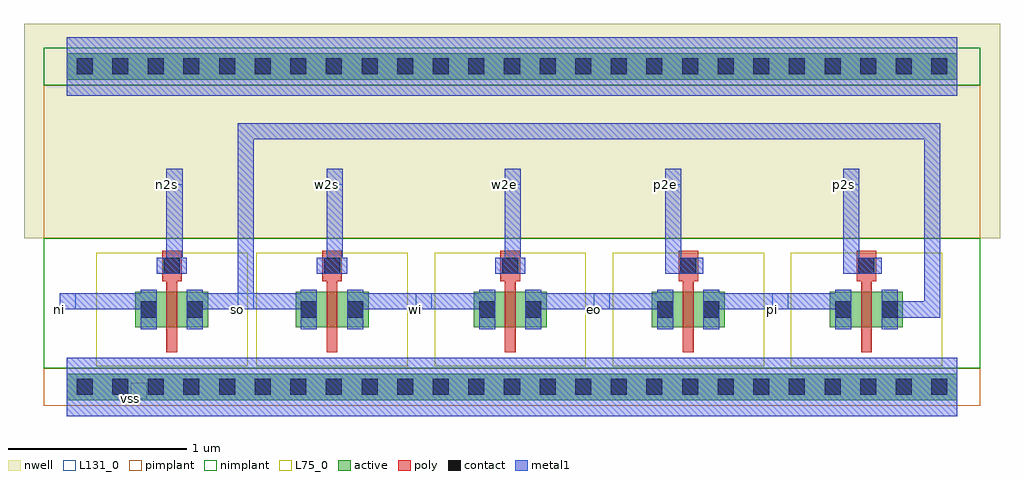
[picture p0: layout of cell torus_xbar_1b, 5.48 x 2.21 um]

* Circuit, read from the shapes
.subckt torus_xbar_1b eo n2s ni p2e p2s pi so vss w2e w2s wi
M1 so n2s ni vss nfet w=0.2u l=0.06u
M2 wi w2s so vss nfet w=0.2u l=0.06u
M3 eo w2e wi vss nfet w=0.2u l=0.06u
M4 pi p2e eo vss nfet w=0.2u l=0.06u
M5 so p2s pi vss nfet w=0.2u l=0.06u
.ends

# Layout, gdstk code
import gdstk
lib = gdstk.Library(unit=1e-6, precision=1e-09)
def R(c, l, rs):  # rectangles x0, y0, x1, y1
    for r in rs: c.add(gdstk.rectangle(r[:2], r[2:], *l))
def A(c, l, x, y, w, h, nx, ny, dx, dy):  # array of equal rectangles
    R(c, l, [(x+i*dx, y+j*dy, x+i*dx+w, y+j*dy+h) for i in range(nx) for j in range(ny)])
nwell = (3, 0)
active = (6, 0)
poly = (17, 0)
pimplant = (25, 0)
nimplant = (26, 0)
contact = (30, 0)
metal1 = (31, 0)
L75_0 = (75, 0)
L131_0 = (131, 0)

nch_cdns_733455389410 = lib.new_cell('nch_CDNS_733455389410')
R(nch_cdns_733455389410, active, [(-0.175,0,0,0.2), (0,0,0.06,0.2), (0.06,0,0.235,0.2)])
R(nch_cdns_733455389410, poly, [(0,-0.14,0.06,0), (0,0,0.06,0.2), (0,0.2,0.06,0.34)])
R(nch_cdns_733455389410, contact, [(-0.145,0.055,-0.055,0.145), (0.115,0.055,0.205,0.145)])
R(nch_cdns_733455389410, metal1, [(-0.145,-0.01,-0.055,0.21), (0.115,-0.01,0.205,0.21)])
R(nch_cdns_733455389410, L75_0, [(-0.395,-0.22,0.455,0.42)])
nch_cdns_733455389410.add(gdstk.Label('& SerialNumber 000000', (0,0), layer=63, texttype=63))
nch_cdns_733455389410.add(gdstk.Label('& Distributor TSMC', (0,0), layer=63, texttype=63))
nch_cdns_733455389410.add(gdstk.Label('& Metric 1', (0,0), layer=63, texttype=63))
nch_cdns_733455389410.add(gdstk.Label('& PDK TechNode "CRN65LP"', (0,0), layer=63, texttype=63))
nch_cdns_733455389410.add(gdstk.Label('& Product    tsmcN65_PDK', (0,0), layer=63, texttype=63))
nch_cdns_733455389410.add(gdstk.Label('& Vendor     Taiwan Semiconductor manufacturing Corp.', (0,0), layer=63, texttype=63))
nch_cdns_733455389410.add(gdstk.Label('[@instanceName]', (0.03,0.1), layer=127, texttype=0))
nch_cdns_733455389410.add(gdstk.Label('nch\n0.2/0.06\n', (0,0), layer=127, texttype=0))
nch_cdns_733455389410.add(gdstk.Label('S', (0.16,0.1), layer=127, texttype=0))
nch_cdns_733455389410.add(gdstk.Label('D', (-0.1,0.1), layer=127, texttype=0))

nch_cdns_733455389411 = lib.new_cell('nch_CDNS_733455389411')
R(nch_cdns_733455389411, active, [(-0.175,0,0,0.2), (0,0,0.06,0.2), (0.06,0,0.235,0.2)])
R(nch_cdns_733455389411, poly, [(0,-0.14,0.06,0), (0,0,0.06,0.2), (0,0.2,0.06,0.34)])
R(nch_cdns_733455389411, contact, [(-0.145,0.055,-0.055,0.145), (0.115,0.055,0.205,0.145)])
R(nch_cdns_733455389411, metal1, [(-0.145,-0.01,-0.055,0.21), (0.115,-0.01,0.205,0.21)])
R(nch_cdns_733455389411, L75_0, [(-0.395,-0.22,0.455,0.42)])
nch_cdns_733455389411.add(gdstk.Label('& SerialNumber 000000', (0,0), layer=63, texttype=63))
nch_cdns_733455389411.add(gdstk.Label('& Distributor TSMC', (0,0), layer=63, texttype=63))
nch_cdns_733455389411.add(gdstk.Label('& Metric 1', (0,0), layer=63, texttype=63))
nch_cdns_733455389411.add(gdstk.Label('& PDK TechNode "CRN65LP"', (0,0), layer=63, texttype=63))
nch_cdns_733455389411.add(gdstk.Label('& Product    tsmcN65_PDK', (0,0), layer=63, texttype=63))
nch_cdns_733455389411.add(gdstk.Label('& Vendor     Taiwan Semiconductor manufacturing Corp.', (0,0), layer=63, texttype=63))
nch_cdns_733455389411.add(gdstk.Label('[@instanceName]', (0.03,0.1), layer=127, texttype=0))
nch_cdns_733455389411.add(gdstk.Label('nch\n0.2/0.06\n', (0,0), layer=127, texttype=0))
nch_cdns_733455389411.add(gdstk.Label('D', (0.16,0.1), layer=127, texttype=0))
nch_cdns_733455389411.add(gdstk.Label('S', (-0.1,0.1), layer=127, texttype=0))

m1_po_cdns_733455389410 = lib.new_cell('M1_PO_CDNS_733455389410')
R(m1_po_cdns_733455389410, poly, [(-0.055,-0.085,0.055,0.085)])
R(m1_po_cdns_733455389410, contact, [(-0.045,-0.045,0.045,0.045)])
R(m1_po_cdns_733455389410, metal1, [(-0.085,-0.045,0.085,0.045)])

torus_xbar_1b = lib.new_cell('torus_xbar_1b')
R(torus_xbar_1b, nwell, [(0.5,1.4,5.98,2.605)])
R(torus_xbar_1b, active, [(0.74,0.49,5.74,0.64), (0.74,2.29,5.74,2.44)])
R(torus_xbar_1b, pimplant, [(0.61,0.46,5.87,0.67), (0.61,1.4,5.87,2.26)])
R(torus_xbar_1b, nimplant, [(0.61,0.67,5.87,1.4), (0.61,2.26,5.87,2.47)])
A(torus_xbar_1b, contact, 0.795, 0.52, 0.09, 0.09, 14, 2, 0.2, 1.8)
A(torus_xbar_1b, contact, 3.795, 0.52, 0.09, 0.09, 10, 2, 0.2, 1.8)
R(torus_xbar_1b, contact, [(3.395,0.52,3.485,0.61), (3.595,0.52,3.685,0.61), (3.595,0.52,3.685,0.61), (3.795,0.52,3.885,0.61), (3.395,2.32,3.485,2.41), (3.595,2.32,3.685,2.41), (3.595,2.32,3.685,2.41), (3.795,2.32,3.885,2.41)])
R(torus_xbar_1b, metal1, [(0.74,0.4,5.74,0.73), (0.74,2.2,5.74,2.53)])
A(torus_xbar_1b, L131_0, 0.7, 1, 0.09, 0.09, 5, 1, 1, 0)
R(torus_xbar_1b, L131_0, [(1.1,0.5,1.19,0.59), (1.3,1.7,1.39,1.79), (2.2,1.7,2.29,1.79), (3.2,1.7,3.29,1.79), (4.1,1.7,4.19,1.79), (5.1,1.7,5.19,1.79)])
torus_xbar_1b.add(gdstk.FlexPath([(3.23,1.1),(3.23,1.245)], 0.06, ends=(0, 0.085), simple_path=True, layer=17, datatype=0))  # poly
torus_xbar_1b.add(gdstk.FlexPath([(4.23,1.1),(4.23,1.245)], 0.06, ends=(0, 0.085), simple_path=True, layer=17, datatype=0))  # poly
torus_xbar_1b.add(gdstk.FlexPath([(5.23,1.1),(5.23,1.245)], 0.06, ends=(0, 0.085), simple_path=True, layer=17, datatype=0))  # poly
torus_xbar_1b.add(gdstk.FlexPath([(2.23,1.1),(2.23,1.245)], 0.06, ends=(0, 0.085), simple_path=True, layer=17, datatype=0))  # poly
torus_xbar_1b.add(gdstk.FlexPath([(1.33,1.1),(1.33,1.245)], 0.06, ends=(0, 0.085), simple_path=True, layer=17, datatype=0))  # poly
torus_xbar_1b.add(gdstk.FlexPath([(2.36,1.045),(2.745,1.045)], 0.09, ends="extended", simple_path=True, layer=31, datatype=0))  # metal1
torus_xbar_1b.add(gdstk.FlexPath([(3.245,1.745),(3.245,1.245)], 0.09, ends="extended", simple_path=True, layer=31, datatype=0))  # metal1
torus_xbar_1b.add(gdstk.FlexPath([(3.745,1.045),(3.36,1.045)], 0.09, ends="extended", simple_path=True, layer=31, datatype=0))  # metal1
torus_xbar_1b.add(gdstk.FlexPath([(3.245,1.245),(3.23,1.245)], 0.09, ends="extended", simple_path=True, layer=31, datatype=0))  # metal1
torus_xbar_1b.add(gdstk.FlexPath([(4.1,1.045),(3.745,1.045)], 0.09, ends="extended", simple_path=True, layer=31, datatype=0))  # metal1
torus_xbar_1b.add(gdstk.FlexPath([(4.745,1.045),(4.36,1.045)], 0.09, ends="extended", simple_path=True, layer=31, datatype=0))  # metal1
torus_xbar_1b.add(gdstk.FlexPath([(5.1,1.045),(4.745,1.045)], 0.09, ends="extended", simple_path=True, layer=31, datatype=0))  # metal1
torus_xbar_1b.add(gdstk.FlexPath([(4.145,1.745),(4.145,1.245)], 0.09, ends="extended", simple_path=True, layer=31, datatype=0))  # metal1
torus_xbar_1b.add(gdstk.FlexPath([(4.145,1.245),(4.23,1.245)], 0.09, ends="extended", simple_path=True, layer=31, datatype=0))  # metal1
torus_xbar_1b.add(gdstk.FlexPath([(5.145,1.745),(5.145,1.245)], 0.09, ends="extended", simple_path=True, layer=31, datatype=0))  # metal1
torus_xbar_1b.add(gdstk.FlexPath([(1.345,1.245),(1.33,1.245)], 0.09, ends="extended", simple_path=True, layer=31, datatype=0))  # metal1
torus_xbar_1b.add(gdstk.FlexPath([(1.745,1.09),(1.745,2)], 0.09, ends=(0, 0.045), simple_path=True, layer=31, datatype=0))  # metal1
torus_xbar_1b.add(gdstk.FlexPath([(1.745,2),(5.6,2)], 0.09, ends="extended", simple_path=True, layer=31, datatype=0))  # metal1
torus_xbar_1b.add(gdstk.FlexPath([(5.6,2),(5.6,1)], 0.09, ends="extended", simple_path=True, layer=31, datatype=0))  # metal1
torus_xbar_1b.add(gdstk.FlexPath([(5.145,1.245),(5.23,1.245)], 0.09, ends="extended", simple_path=True, layer=31, datatype=0))  # metal1
torus_xbar_1b.add(gdstk.FlexPath([(5.6,1),(5.405,1)], 0.09, ends=(0.045, 0), simple_path=True, layer=31, datatype=0))  # metal1
torus_xbar_1b.add(gdstk.FlexPath([(1.745,1.045),(2.1,1.045)], 0.09, ends="extended", simple_path=True, layer=31, datatype=0))  # metal1
torus_xbar_1b.add(gdstk.FlexPath([(1.46,1.045),(1.745,1.045)], 0.09, ends="extended", simple_path=True, layer=31, datatype=0))  # metal1
torus_xbar_1b.add(gdstk.FlexPath([(2.245,1.745),(2.245,1.245)], 0.09, ends="extended", simple_path=True, layer=31, datatype=0))  # metal1
torus_xbar_1b.add(gdstk.FlexPath([(2.245,1.245),(2.23,1.245)], 0.09, ends="extended", simple_path=True, layer=31, datatype=0))  # metal1
torus_xbar_1b.add(gdstk.FlexPath([(0.745,1.045),(1.2,1.045)], 0.09, ends="extended", simple_path=True, layer=31, datatype=0))  # metal1
torus_xbar_1b.add(gdstk.FlexPath([(1.345,1.745),(1.345,1.245)], 0.09, ends="extended", simple_path=True, layer=31, datatype=0))  # metal1
torus_xbar_1b.add(gdstk.FlexPath([(2.745,1.045),(3.1,1.045)], 0.09, ends="extended", simple_path=True, layer=31, datatype=0))  # metal1
torus_xbar_1b.add(gdstk.Reference(nch_cdns_733455389410, (1.3,0.9)))
torus_xbar_1b.add(gdstk.Reference(nch_cdns_733455389410, (5.2,0.9)))
torus_xbar_1b.add(gdstk.Reference(nch_cdns_733455389410, (3.2,0.9)))
torus_xbar_1b.add(gdstk.Reference(nch_cdns_733455389411, (2.2,0.9)))
torus_xbar_1b.add(gdstk.Reference(nch_cdns_733455389411, (4.2,0.9)))
torus_xbar_1b.add(gdstk.Reference(m1_po_cdns_733455389410, (3.23,1.245)))
torus_xbar_1b.add(gdstk.Reference(m1_po_cdns_733455389410, (4.23,1.245)))
torus_xbar_1b.add(gdstk.Reference(m1_po_cdns_733455389410, (5.23,1.245)))
torus_xbar_1b.add(gdstk.Reference(m1_po_cdns_733455389410, (2.23,1.245)))
torus_xbar_1b.add(gdstk.Reference(m1_po_cdns_733455389410, (1.33,1.245)))
torus_xbar_1b.add(gdstk.Label('vss', (1.1,0.5), layer=131, texttype=0))
torus_xbar_1b.add(gdstk.Label('so', (1.7,1), layer=131, texttype=0))
torus_xbar_1b.add(gdstk.Label('eo', (3.7,1), layer=131, texttype=0))
torus_xbar_1b.add(gdstk.Label('pi', (4.7,1), layer=131, texttype=0))
torus_xbar_1b.add(gdstk.Label('wi', (2.7,1), layer=131, texttype=0))
torus_xbar_1b.add(gdstk.Label('ni', (0.7,1), layer=131, texttype=0))
torus_xbar_1b.add(gdstk.Label('n2s', (1.3,1.7), layer=131, texttype=0))
torus_xbar_1b.add(gdstk.Label('w2s', (2.2,1.7), layer=131, texttype=0))
torus_xbar_1b.add(gdstk.Label('p2s', (5.1,1.7), layer=131, texttype=0))
torus_xbar_1b.add(gdstk.Label('p2e', (4.1,1.7), layer=131, texttype=0))
torus_xbar_1b.add(gdstk.Label('w2e', (3.2,1.7), layer=131, texttype=0))

lib.write_gds('torus_xbar_1b.gds')
